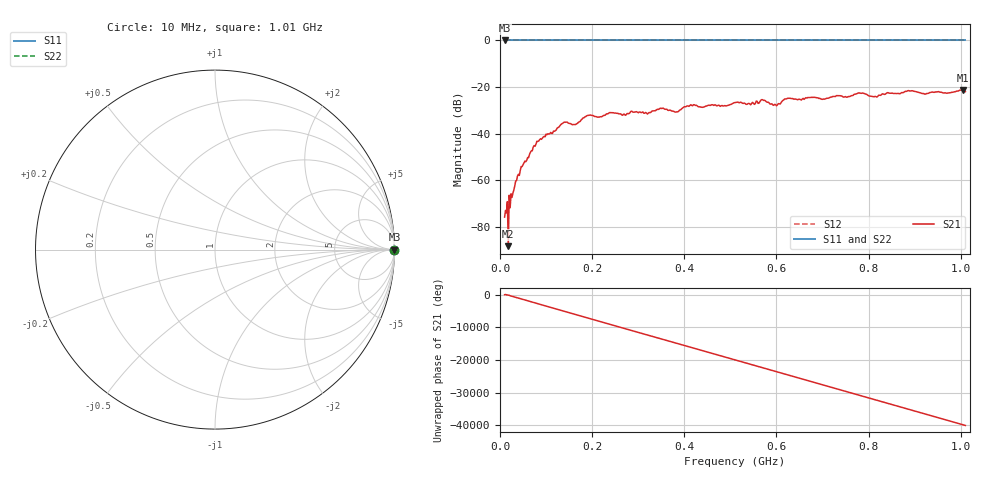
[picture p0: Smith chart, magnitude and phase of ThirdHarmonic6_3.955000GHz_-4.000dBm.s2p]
! 8/17/2025 2:01:46 PM
! C:\ANRITSUVNA\TEMP\TEMP.S2P
! CHANNEL.1
! TR.MEASUREMENT
! RAW.DATA
! RF.CORRECTION.OFF
! AVERAGING.OFF
! IF.BANDWIDTH: 5KHZ
! SWEEPTYPE:  FREQ.SWEEP(Linear)
! Reference Plane Port Info
! PORT:  PORT1  PORT2
! DISTANCE:  0  m  0  m
! TIME:  0  s  0  s
! PHASE.OFFSET:  0  deg.  0  deg.
! LOSS:  0  dB  0  dB
! REF.LOSS:  0  dB  0  dB
! REF.FREQ:  0  Hz  0  Hz
! Power Info
! POWER:  -20  dBm  -20  dBm
! EFF.POWER:  -20  dBm  -20  dBm
! SOURCE.ATTEN:  0  dB  0  dB
! TEST.ATTEN:  0  dB  0  dB
# GHZ S RI R 50.0
! FREQ.GHZ  S11RE  S11IM  S21RE  S21IM  S12RE  S12IM  S22RE  S22IM
!; PortSelection: Port_12
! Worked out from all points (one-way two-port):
!   501 points, 10 MHz to 1.01 GHz, reference 50 ohm
!   highest |S21| = -21.28 dB at 1.004 GHz (marker M1); lowest = -88.4 dB at 18 MHz (marker M2)
!   lowest |S11| = 0.0 dB at 10 MHz (marker M3)
!   |S11| at or under -10 dB: nowhere
!   |S22| runs from 0.0 to 0.0 dB; largest |S21 - S12| = 1.1
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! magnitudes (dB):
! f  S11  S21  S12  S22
! 10 MHz  0.0  -75.9  0.0  0.0
! 18 MHz  0.0  -88.4  0.0  0.0
! 42 MHz  0.0  -58.0  0.0  0.0
! 82 MHz  0.0  -43.4  0.0  0.0
! 138 MHz  0.0  -35.3  0.0  0.0
! 162 MHz  0.0  -36.2  0.0  0.0
! 178 MHz  0.0  -33.8  0.0  0.0
! 192 MHz  0.0  -32.2  0.0  0.0
! 322 MHz  0.0  -31.2  0.0  0.0
! 344 MHz  0.0  -29.6  0.0  0.0
! 382 MHz  0.0  -30.7  0.0  0.0
! 418 MHz  0.0  -28.0  0.0  0.0
! 510 MHz  0.0  -26.7  0.0  0.0
! 570 MHz  0.0  -25.5  0.0  0.0
! 598 MHz  0.0  -27.5  0.0  0.0
! 622 MHz  0.0  -25.1  0.0  0.0
! 678 MHz  0.0  -24.4  0.0  0.0
! 782 MHz  0.0  -22.7  0.0  0.0
! 814 MHz  0.0  -24.0  0.0  0.0
! 844 MHz  0.0  -22.6  0.0  0.0
! 1.004 GHz  0.0  -21.3  0.0  0.0
! 1.01 GHz  0.0  -22.0  0.0  0.0
